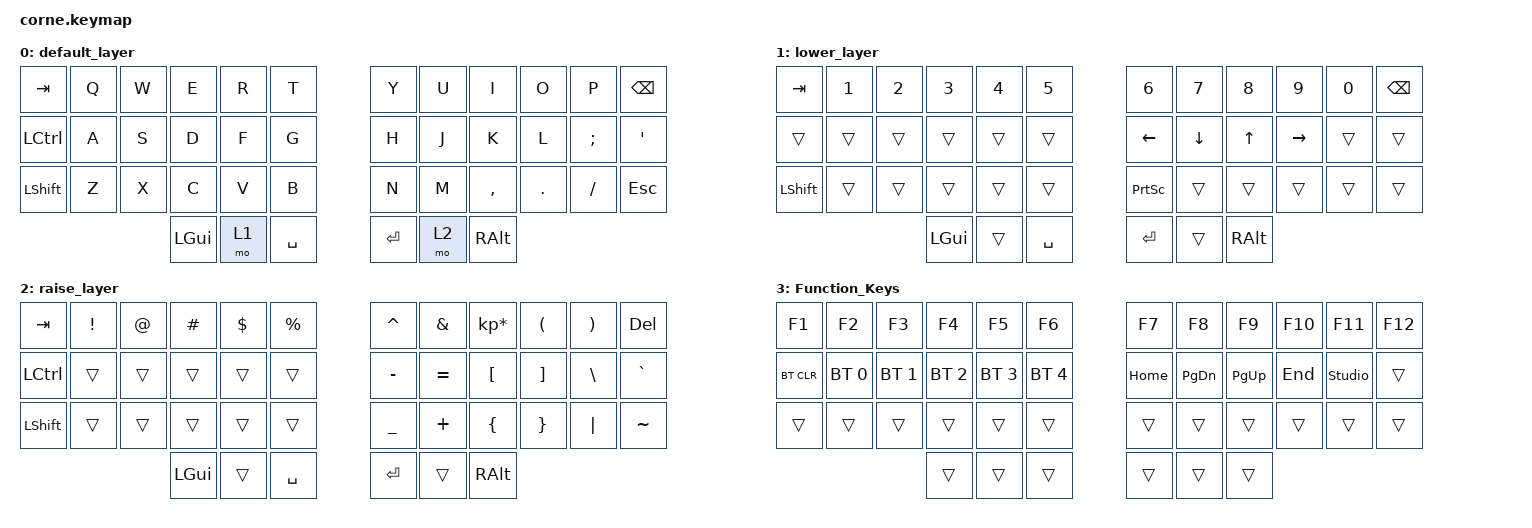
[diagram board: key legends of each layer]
/*
 * Copyright (c) 2020 The ZMK Contributors
 *
 * SPDX-License-Identifier: MIT
 */

#include <behaviors.dtsi>
#include <dt-bindings/zmk/bt.h>
#include <dt-bindings/zmk/keys.h>

&soft_off {
    hold-time-ms = <5000>; // Only turn off it the key is held for 5 seconds or longer.
};

/ {
    combos {
        compatible = "zmk,combos";

        combo_power_off {
            bindings = <&soft_off>;
            key-positions = <13 14 7>;
            timeout-ms = <50>;
            require-prior-idle-ms = <100>;
            layers = <0 1 2>;
        };
    };

    keymap {
        compatible = "zmk,keymap";

        default_layer {
            // -----------------------------------------------------------------------------------------
            // |  TAB |  Q  |  W  |  E  |  R  |  T  |   |  Y  |  U   |  I  |  O  |  P  | BKSP |
            // | CTRL |  A  |  S  |  D  |  F  |  G  |   |  H  |  J   |  K  |  L  |  ;  |  '   |
            // | SHFT |  Z  |  X  |  C  |  V  |  B  |   |  N  |  M   |  ,  |  .  |  /  | ESC  |
            //                    | GUI | LWR | SPC |   | ENT | RSE  | ALT |

            bindings = <
&kp TAB    &kp Q  &kp W  &kp E     &kp R  &kp T        &kp Y    &kp U  &kp I      &kp O    &kp P     &kp BSPC
&kp LCTRL  &kp A  &kp S  &kp D     &kp F  &kp G        &kp H    &kp J  &kp K      &kp L    &kp SEMI  &kp SQT
&kp LSHFT  &kp Z  &kp X  &kp C     &kp V  &kp B        &kp N    &kp M  &kp COMMA  &kp DOT  &kp FSLH  &kp ESC
                         &kp LGUI  &mo 1  &kp SPACE    &kp RET  &mo 2  &kp RALT
            >;
        };

        lower_layer {
            // -----------------------------------------------------------------------------------------
            // |  TAB |  1  |  2  |  3  |  4  |  5  |   |  6  |  7  |  8  |  9  |  0  | BKSP |
            // |      |     |     |     |     |     |   | LFT | DWN |  UP | RGT |     |      |
            // | SHFT |     |     |     |     |     |   |     |     |     |     |     |      |
            //                    | GUI |     | SPC |   | ENT |     | ALT |

            bindings = <
&kp TAB    &kp N1  &kp N2  &kp N3    &kp N4  &kp N5       &kp N6           &kp N7    &kp N8    &kp N9     &kp N0  &kp BSPC
&trans     &trans  &trans  &trans    &trans  &trans       &kp LEFT         &kp DOWN  &kp UP    &kp RIGHT  &trans  &trans
&kp LSHFT  &trans  &trans  &trans    &trans  &trans       &kp PRINTSCREEN  &trans    &trans    &trans     &trans  &trans
                           &kp LGUI  &trans  &kp SPACE    &kp RET          &trans    &kp RALT
            >;
        };

        raise_layer {
            // -----------------------------------------------------------------------------------------
            // |  TAB |  !  |  @  |  #  |  $  |  %  |   |  ^  |  &  |  *  |  (  |  )  |  DEL |
            // | CTRL |     |     |     |     |     |   |  -  |  =  |  [  |  ]  |  \  |  `   |
            // | SHFT |     |     |     |     |     |   |  _  |  +  |  {  |  }  | "|" |  ~   |
            //                    | GUI |     | SPC |   | ENT |     | ALT |

            bindings = <
&kp TAB    &kp EXCL  &kp AT  &kp HASH  &kp DLLR  &kp PRCNT    &kp CARET  &kp AMPS   &kp KP_MULTIPLY  &kp LPAR  &kp RPAR  &kp DEL
&kp LCTRL  &trans    &trans  &trans    &trans    &trans       &kp MINUS  &kp EQUAL  &kp LBKT         &kp RBKT  &kp BSLH  &kp GRAVE
&kp LSHFT  &trans    &trans  &trans    &trans    &trans       &kp UNDER  &kp PLUS   &kp LBRC         &kp RBRC  &kp PIPE  &kp TILDE
                             &kp LGUI  &trans    &kp SPACE    &kp RET    &trans     &kp RALT
            >;
        };

        Function_Keys {
            // -----------------------------------------------------------------------------------------
            // |   F1 |  F2  |  F3  |  F4  |  F5  |  F6  |   |  F7  |  F8  |  F9  | F10 | F11 | F12 |
            // | CTRL |      |      |      |      |      |   | HOME | PDWN | PGUP | END |  \  | `   |
            // | SHFT |      |      |      |      |      |   |   _  |   +  |  {   |  }  | "|" | ~   |
            //                      |  GUI |      |  SPC |   |  ENT |      | ALT |
            bindings = <
&kp F1      &kp F2        &kp F3        &kp F4        &kp F5        &kp F6          &kp F7    &kp F8         &kp F9       &kp F10  &kp F11          &kp F12
&bt BT_CLR  &bt BT_SEL 0  &bt BT_SEL 1  &bt BT_SEL 2  &bt BT_SEL 3  &bt BT_SEL 4    &kp HOME  &kp PAGE_DOWN  &kp PAGE_UP  &kp END  &studio_unlock   &trans
&trans      &trans        &trans        &trans        &trans        &trans          &trans    &trans         &trans       &trans   &trans           &trans
                                        &trans        &trans        &trans          &trans    &trans         &trans
            >;
        };
    };

    conditional_layers {
        compatible = "zmk,conditional-layers";

        layer_three {
            if-layers = <1 2>;
            then-layer = <3>;
        };
    };
};
